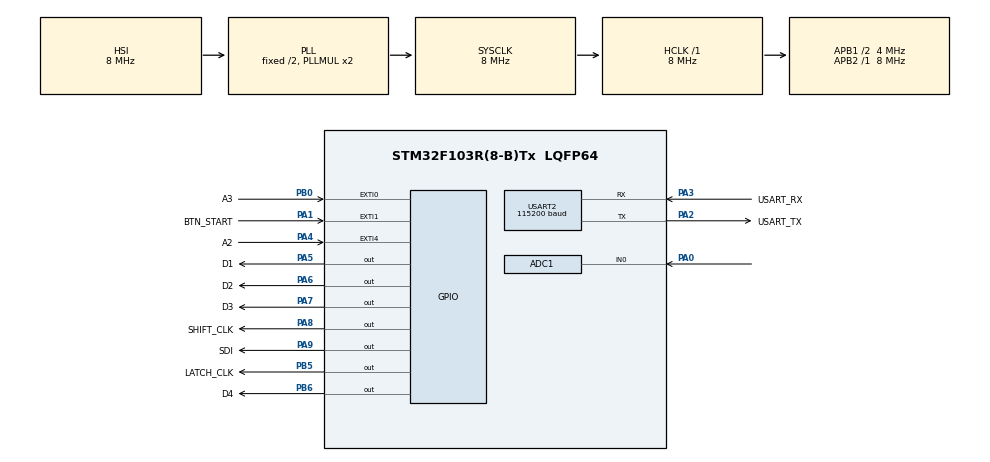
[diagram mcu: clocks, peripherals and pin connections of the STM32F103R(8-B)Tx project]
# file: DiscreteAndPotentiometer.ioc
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ADC1.Channel-0\#ChannelRegularConversion=ADC_CHANNEL_0
ADC1.ContinuousConvMode=DISABLE
ADC1.DiscontinuousConvMode=DISABLE
ADC1.EnableInjectedConversion=DISABLE
ADC1.ExternalTrigConv=ADC_EXTERNALTRIGCONV_T2_CC2
ADC1.NbrOfConversion=1
ADC1.NbrOfConversionFlag=1
ADC1.Rank-0\#ChannelRegularConversion=1
ADC1.SamplingTime-0\#ChannelRegularConversion=ADC_SAMPLETIME_1CYCLE_5
ADC1.master=1
Dma.ADC1.0.Direction=DMA_PERIPH_TO_MEMORY
Dma.ADC1.0.Instance=DMA1_Channel1
Dma.ADC1.0.MemDataAlignment=DMA_MDATAALIGN_HALFWORD
Dma.ADC1.0.MemInc=DMA_MINC_ENABLE
Dma.ADC1.0.Mode=DMA_CIRCULAR
Dma.ADC1.0.PeriphDataAlignment=DMA_PDATAALIGN_HALFWORD
Dma.ADC1.0.PeriphInc=DMA_PINC_DISABLE
Dma.ADC1.0.Priority=DMA_PRIORITY_LOW
Dma.Request0=ADC1
Dma.Request1=USART2_TX
Dma.Request2=USART2_RX
Dma.USART2_RX.2.Direction=DMA_PERIPH_TO_MEMORY
Dma.USART2_RX.2.Instance=DMA1_Channel6
Dma.USART2_RX.2.MemDataAlignment=DMA_MDATAALIGN_BYTE
Dma.USART2_RX.2.MemInc=DMA_MINC_ENABLE
Dma.USART2_RX.2.Mode=DMA_NORMAL
Dma.USART2_RX.2.PeriphDataAlignment=DMA_PDATAALIGN_BYTE
Dma.USART2_RX.2.PeriphInc=DMA_PINC_DISABLE
Dma.USART2_RX.2.Priority=DMA_PRIORITY_LOW
Dma.USART2_TX.1.Direction=DMA_MEMORY_TO_PERIPH
Dma.USART2_TX.1.Instance=DMA1_Channel7
Dma.USART2_TX.1.MemDataAlignment=DMA_MDATAALIGN_BYTE
Dma.USART2_TX.1.MemInc=DMA_MINC_ENABLE
Dma.USART2_TX.1.Mode=DMA_NORMAL
Dma.USART2_TX.1.PeriphDataAlignment=DMA_PDATAALIGN_BYTE
Dma.USART2_TX.1.PeriphInc=DMA_PINC_DISABLE
Dma.USART2_TX.1.Priority=DMA_PRIORITY_LOW
Mcu.Family=STM32F1
Mcu.Name=STM32F103R(8-B)Tx
Mcu.Package=LQFP64
NVIC.DMA1_Channel1_IRQn=true\:0\:0\:false\:false\:true\:false\:true\:true
NVIC.DMA1_Channel6_IRQn=true\:0\:0\:false\:false\:true\:false\:true\:true
NVIC.DMA1_Channel7_IRQn=true\:0\:0\:false\:false\:true\:false\:true\:true
NVIC.EXTI0_IRQn=true\:0\:0\:false\:false\:true\:true\:true\:true
NVIC.EXTI1_IRQn=true\:0\:0\:false\:false\:true\:true\:true\:true
NVIC.EXTI4_IRQn=true\:0\:0\:false\:false\:true\:true\:true\:true
NVIC.PriorityGroup=NVIC_PRIORITYGROUP_4
NVIC.TIM2_IRQn=true\:0\:0\:false\:false\:true\:true\:true\:true
NVIC.TIM3_IRQn=true\:0\:0\:false\:false\:true\:true\:true\:true
NVIC.USART2_IRQn=true\:0\:0\:false\:false\:true\:true\:true\:true
PA0-WKUP.Signal=ADCx_IN0
PA1.GPIO_Label=BTN_START
PA1.Signal=GPXTI1
PA13.GPIO_Label=TMS
PA13.Mode=Serial_Wire
PA13.Signal=SYS_JTMS-SWDIO
PA14.GPIO_Label=TCK
PA14.Mode=Serial_Wire
PA14.Signal=SYS_JTCK-SWCLK
PA2.GPIO_Label=USART_TX
PA2.GPIO_Mode=GPIO_MODE_AF_PP
PA2.GPIO_PuPd=GPIO_NOPULL
PA2.GPIO_Speed=GPIO_SPEED_FREQ_LOW
PA2.Mode=Asynchronous
PA2.Signal=USART2_TX
PA3.GPIO_Label=USART_RX
PA3.GPIO_Mode=GPIO_MODE_AF_PP
PA3.GPIO_PuPd=GPIO_NOPULL
PA3.GPIO_Speed=GPIO_SPEED_FREQ_LOW
PA3.Mode=Asynchronous
PA3.Signal=USART2_RX
PA4.GPIO_Label=A2
PA4.Signal=GPXTI4
PA5.GPIO_Label=D1
PA5.GPIO_ModeDefaultOutputPP=GPIO_MODE_OUTPUT_PP
PA5.GPIO_PuPd=GPIO_NOPULL
PA5.GPIO_Speed=GPIO_SPEED_FREQ_LOW
PA5.Signal=GPIO_Output
PA6.GPIO_Label=D2
PA6.Signal=GPIO_Output
PA7.GPIO_Label=D3
PA7.Signal=GPIO_Output
PA8.GPIO_Label=SHIFT_CLK
PA8.Signal=GPIO_Output
PA9.GPIO_Label=SDI
PA9.Signal=GPIO_Output
PB0.GPIO_Label=A3
PB0.Signal=GPXTI0
PB5.GPIO_Label=LATCH_CLK
PB5.Signal=GPIO_Output
PB6.GPIO_Label=D4
PB6.Signal=GPIO_Output
PC14-OSC32_IN.Mode=LSE-External-Oscillator
PC14-OSC32_IN.Signal=RCC_OSC32_IN
PC15-OSC32_OUT.Mode=LSE-External-Oscillator
PC15-OSC32_OUT.Signal=RCC_OSC32_OUT
PD0-OSC_IN.Mode=HSE-External-Clock-Source
PD0-OSC_IN.Signal=RCC_OSC_IN
PD1-OSC_OUT.Mode=HSE-External-Clock-Source
PD1-OSC_OUT.Signal=RCC_OSC_OUT
ProjectManager.HeapSize=0x200
ProjectManager.StackSize=0x400
ProjectManager.TargetToolchain=MDK-ARM V5.32
RCC.AHBFreq_Value=8000000
RCC.APB1CLKDivider=RCC_HCLK_DIV2
RCC.APB1Freq_Value=4000000
RCC.APB1TimFreq_Value=8000000
RCC.APB2Freq_Value=8000000
RCC.APB2TimFreq_Value=8000000
RCC.HCLKFreq_Value=8000000
RCC.RTCClockSelection=RCC_RTCCLKSOURCE_LSE
RCC.SYSCLKFreq_VALUE=8000000
RCC.SYSCLKSource=RCC_SYSCLKSOURCE_PLLCLK
RCC.USBFreq_Value=8000000
SH.ADCx_IN0.0=ADC1_IN0,IN0
TIM2.Channel-Output\ Compare2\ No\ Output=TIM_CHANNEL_2
TIM2.OCMode_2=TIM_OCMODE_TOGGLE
TIM2.Period=99
TIM2.Prescaler=79
TIM3.Period=99
TIM3.Prescaler=59
USART2.BaudRate=115200
USART2.Mode=MODE_TX_RX
USART2.VirtualMode=VM_ASYNC
VP_TIM2_VS_no_output2.Mode=Output Compare2 No Output
VP_TIM3_VS_ClockSourceINT.Mode=Internal
board=NUCLEO-F103RB

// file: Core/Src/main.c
/* USER CODE BEGIN Header */
/**
  ******************************************************************************
  * @file           : main.c
  * @brief          : Main program body
  ******************************************************************************
  * @attention
  *
  * Copyright (c) 2024 STMicroelectronics.
  * All rights reserved.
  *
  * This software is licensed under terms that can be found in the LICENSE file
  * in the root directory of this software component.
  * If no LICENSE file comes with this software, it is provided AS-IS.
  *
  ******************************************************************************
  */
/* USER CODE END Header */
#include "main.h"

/* USER CODE BEGIN Includes */

#include <stdlib.h>
#include <stdio.h>
#include <string.h>

#include "receive_UART_callback.h"
#include "display.h"

/* USER CODE END Includes */

ADC_HandleTypeDef hadc1;
DMA_HandleTypeDef hdma_adc1;

TIM_HandleTypeDef htim2;
TIM_HandleTypeDef htim3;

UART_HandleTypeDef huart2;
DMA_HandleTypeDef hdma_usart2_tx;
DMA_HandleTypeDef hdma_usart2_rx;

/* USER CODE BEGIN PV */

char tx_buffer[TX_BUFFER_SIZE];
volatile int destroyed_ship_summary = 0;

void HAL_UART_RxCpltCallback(UART_HandleTypeDef *huart)
{
		if(huart == &huart2)
    {
			receive_btn_byte_callback(huart);
    }
}

void transmit_int_pattern_uart(UART_HandleTypeDef *huart, const char* pattern, int value)
{

	snprintf(tx_buffer, sizeof(tx_buffer), pattern, value);
	HAL_UART_Transmit_DMA(huart, (uint8_t*)tx_buffer, strlen(tx_buffer));

}

/* USER CODE END PV */

void SystemClock_Config(void);
static void MX_GPIO_Init(void);
static void MX_DMA_Init(void);
static void MX_USART2_UART_Init(void);
static void MX_TIM2_Init(void);
static void MX_TIM3_Init(void);
static void MX_ADC1_Init(void);

int main(void)
{

  /* MCU Configuration--------------------------------------------------------*/

  /* Reset of all peripherals, Initializes the Flash interface and the Systick. */
  HAL_Init();

  /* Configure the system clock */
  SystemClock_Config();

  /* Initialize all configured peripherals */
  MX_GPIO_Init();
  MX_DMA_Init();
  MX_USART2_UART_Init();
  MX_TIM2_Init();
  MX_TIM3_Init();
  MX_ADC1_Init();

  /* Infinite loop */
  /* USER CODE BEGIN WHILE */
	HAL_UART_Receive_DMA(&huart2, &received_byte, sizeof(received_byte));

  while (1)
  {
    /* USER CODE END WHILE */
    /* USER CODE BEGIN 3 */

		display_update_integer(destroyed_ship_summary);

  }
  /* USER CODE END 3 */
}

void SystemClock_Config(void)
{
  RCC_OscInitTypeDef RCC_OscInitStruct = {0};
  RCC_ClkInitTypeDef RCC_ClkInitStruct = {0};
  RCC_PeriphCLKInitTypeDef PeriphClkInit = {0};

  /** Initializes the RCC Oscillators according to the specified parameters
  * in the RCC_OscInitTypeDef structure.
  */
  RCC_OscInitStruct.OscillatorType = RCC_OSCILLATORTYPE_HSI;
  RCC_OscInitStruct.HSIState = RCC_HSI_ON;
  RCC_OscInitStruct.HSICalibrationValue = RCC_HSICALIBRATION_DEFAULT;
  RCC_OscInitStruct.PLL.PLLState = RCC_PLL_ON;
  RCC_OscInitStruct.PLL.PLLSource = RCC_PLLSOURCE_HSI_DIV2;
  RCC_OscInitStruct.PLL.PLLMUL = RCC_PLL_MUL2;
  if (HAL_RCC_OscConfig(&RCC_OscInitStruct) != HAL_OK)
  {
    Error_Handler();
  }

  /** Initializes the CPU, AHB and APB buses clocks
  */
  RCC_ClkInitStruct.ClockType = RCC_CLOCKTYPE_HCLK|RCC_CLOCKTYPE_SYSCLK
                              |RCC_CLOCKTYPE_PCLK1|RCC_CLOCKTYPE_PCLK2;
  RCC_ClkInitStruct.SYSCLKSource = RCC_SYSCLKSOURCE_PLLCLK;
  RCC_ClkInitStruct.AHBCLKDivider = RCC_SYSCLK_DIV1;
  RCC_ClkInitStruct.APB1CLKDivider = RCC_HCLK_DIV2;
  RCC_ClkInitStruct.APB2CLKDivider = RCC_HCLK_DIV1;

  if (HAL_RCC_ClockConfig(&RCC_ClkInitStruct, FLASH_LATENCY_0) != HAL_OK)
  {
    Error_Handler();
  }
  PeriphClkInit.PeriphClockSelection = RCC_PERIPHCLK_ADC;
  PeriphClkInit.AdcClockSelection = RCC_ADCPCLK2_DIV2;
  if (HAL_RCCEx_PeriphCLKConfig(&PeriphClkInit) != HAL_OK)
  {
    Error_Handler();
  }
}

static void MX_ADC1_Init(void)
{

  ADC_ChannelConfTypeDef sConfig = {0};

  /** Common config
  */
  hadc1.Instance = ADC1;
  hadc1.Init.ScanConvMode = ADC_SCAN_DISABLE;
  hadc1.Init.ContinuousConvMode = DISABLE;
  hadc1.Init.DiscontinuousConvMode = DISABLE;
  hadc1.Init.ExternalTrigConv = ADC_EXTERNALTRIGCONV_T2_CC2;
  hadc1.Init.DataAlign = ADC_DATAALIGN_RIGHT;
  hadc1.Init.NbrOfConversion = 1;
  if (HAL_ADC_Init(&hadc1) != HAL_OK)
  {
    Error_Handler();
  }

  /** Configure Regular Channel
  */
  sConfig.Channel = ADC_CHANNEL_0;
  sConfig.Rank = ADC_REGULAR_RANK_1;
  sConfig.SamplingTime = ADC_SAMPLETIME_1CYCLE_5;
  if (HAL_ADC_ConfigChannel(&hadc1, &sConfig) != HAL_OK)
  {
    Error_Handler();
  }

}

static void MX_TIM2_Init(void)
{

  TIM_MasterConfigTypeDef sMasterConfig = {0};
  TIM_OC_InitTypeDef sConfigOC = {0};

  htim2.Instance = TIM2;
  htim2.Init.Prescaler = 79;
  htim2.Init.CounterMode = TIM_COUNTERMODE_UP;
  htim2.Init.Period = 99;
  htim2.Init.ClockDivision = TIM_CLOCKDIVISION_DIV1;
  htim2.Init.AutoReloadPreload = TIM_AUTORELOAD_PRELOAD_DISABLE;
  if (HAL_TIM_OC_Init(&htim2) != HAL_OK)
  {
    Error_Handler();
  }
  sMasterConfig.MasterOutputTrigger = TIM_TRGO_RESET;
  sMasterConfig.MasterSlaveMode = TIM_MASTERSLAVEMODE_DISABLE;
  if (HAL_TIMEx_MasterConfigSynchronization(&htim2, &sMasterConfig) != HAL_OK)
  {
    Error_Handler();
  }
  sConfigOC.OCMode = TIM_OCMODE_TOGGLE;
  sConfigOC.Pulse = 0;
  sConfigOC.OCPolarity = TIM_OCPOLARITY_HIGH;
  sConfigOC.OCFastMode = TIM_OCFAST_DISABLE;
  if (HAL_TIM_OC_ConfigChannel(&htim2, &sConfigOC, TIM_CHANNEL_2) != HAL_OK)
  {
    Error_Handler();
  }

}

static void MX_TIM3_Init(void)
{

  TIM_ClockConfigTypeDef sClockSourceConfig = {0};
  TIM_MasterConfigTypeDef sMasterConfig = {0};

  htim3.Instance = TIM3;
  htim3.Init.Prescaler = 100;
  htim3.Init.CounterMode = TIM_COUNTERMODE_UP;
  htim3.Init.Period = 99;
  htim3.Init.ClockDivision = TIM_CLOCKDIVISION_DIV1;
  htim3.Init.AutoReloadPreload = TIM_AUTORELOAD_PRELOAD_DISABLE;
  if (HAL_TIM_Base_Init(&htim3) != HAL_OK)
  {
    Error_Handler();
  }
  sClockSourceConfig.ClockSource = TIM_CLOCKSOURCE_INTERNAL;
  if (HAL_TIM_ConfigClockSource(&htim3, &sClockSourceConfig) != HAL_OK)
  {
    Error_Handler();
  }
  sMasterConfig.MasterOutputTrigger = TIM_TRGO_RESET;
  sMasterConfig.MasterSlaveMode = TIM_MASTERSLAVEMODE_DISABLE;
  if (HAL_TIMEx_MasterConfigSynchronization(&htim3, &sMasterConfig) != HAL_OK)
  {
    Error_Handler();
  }

}

static void MX_USART2_UART_Init(void)
{

  huart2.Instance = USART2;
  huart2.Init.BaudRate = 115200;
  huart2.Init.WordLength = UART_WORDLENGTH_8B;
  huart2.Init.StopBits = UART_STOPBITS_1;
  huart2.Init.Parity = UART_PARITY_NONE;
  huart2.Init.Mode = UART_MODE_TX_RX;
  huart2.Init.HwFlowCtl = UART_HWCONTROL_NONE;
  huart2.Init.OverSampling = UART_OVERSAMPLING_16;
  if (HAL_UART_Init(&huart2) != HAL_OK)
  {
    Error_Handler();
  }

}

static void MX_DMA_Init(void)
{

  /* DMA controller clock enable */
  __HAL_RCC_DMA1_CLK_ENABLE();

  /* DMA interrupt init */
  /* DMA1_Channel1_IRQn interrupt configuration */
  HAL_NVIC_SetPriority(DMA1_Channel1_IRQn, 0, 0);
  HAL_NVIC_EnableIRQ(DMA1_Channel1_IRQn);
  /* DMA1_Channel6_IRQn interrupt configuration */
  HAL_NVIC_SetPriority(DMA1_Channel6_IRQn, 0, 0);
  HAL_NVIC_EnableIRQ(DMA1_Channel6_IRQn);
  /* DMA1_Channel7_IRQn interrupt configuration */
  HAL_NVIC_SetPriority(DMA1_Channel7_IRQn, 0, 0);
  HAL_NVIC_EnableIRQ(DMA1_Channel7_IRQn);

}

static void MX_GPIO_Init(void)
{
  GPIO_InitTypeDef GPIO_InitStruct = {0};

  /* GPIO Ports Clock Enable */
  __HAL_RCC_GPIOC_CLK_ENABLE();
  __HAL_RCC_GPIOD_CLK_ENABLE();
  __HAL_RCC_GPIOA_CLK_ENABLE();
  __HAL_RCC_GPIOB_CLK_ENABLE();

  /*Configure GPIO pin Output Level */
  HAL_GPIO_WritePin(GPIOA, D1_Pin|D2_Pin|D3_Pin|SHIFT_CLK_Pin
                          |SDI_Pin, GPIO_PIN_RESET);

  /*Configure GPIO pin Output Level */
  HAL_GPIO_WritePin(GPIOB, LATCH_CLK_Pin|D4_Pin, GPIO_PIN_RESET);

  /*Configure GPIO pins : BTN_START_Pin A2_Pin */
  GPIO_InitStruct.Pin = BTN_START_Pin|A2_Pin;
  GPIO_InitStruct.Mode = GPIO_MODE_IT_RISING;
  GPIO_InitStruct.Pull = GPIO_NOPULL;
  HAL_GPIO_Init(GPIOA, &GPIO_InitStruct);

  /*Configure GPIO pins : D1_Pin D2_Pin D3_Pin SHIFT_CLK_Pin
                           SDI_Pin */
  GPIO_InitStruct.Pin = D1_Pin|D2_Pin|D3_Pin|SHIFT_CLK_Pin
                          |SDI_Pin;
  GPIO_InitStruct.Mode = GPIO_MODE_OUTPUT_PP;
  GPIO_InitStruct.Pull = GPIO_NOPULL;
  GPIO_InitStruct.Speed = GPIO_SPEED_FREQ_LOW;
  HAL_GPIO_Init(GPIOA, &GPIO_InitStruct);

  /*Configure GPIO pin : A3_Pin */
  GPIO_InitStruct.Pin = A3_Pin;
  GPIO_InitStruct.Mode = GPIO_MODE_IT_RISING;
  GPIO_InitStruct.Pull = GPIO_NOPULL;
  HAL_GPIO_Init(A3_GPIO_Port, &GPIO_InitStruct);

  /*Configure GPIO pins : LATCH_CLK_Pin D4_Pin */
  GPIO_InitStruct.Pin = LATCH_CLK_Pin|D4_Pin;
  GPIO_InitStruct.Mode = GPIO_MODE_OUTPUT_PP;
  GPIO_InitStruct.Pull = GPIO_NOPULL;
  GPIO_InitStruct.Speed = GPIO_SPEED_FREQ_LOW;
  HAL_GPIO_Init(GPIOB, &GPIO_InitStruct);

  /* EXTI interrupt init*/
  HAL_NVIC_SetPriority(EXTI0_IRQn, 0, 0);
  HAL_NVIC_EnableIRQ(EXTI0_IRQn);

  HAL_NVIC_SetPriority(EXTI1_IRQn, 0, 0);
  HAL_NVIC_EnableIRQ(EXTI1_IRQn);

  HAL_NVIC_SetPriority(EXTI4_IRQn, 0, 0);
  HAL_NVIC_EnableIRQ(EXTI4_IRQn);

}

void Error_Handler(void)
{
  __disable_irq();
  while (1)
  {
  }
}
